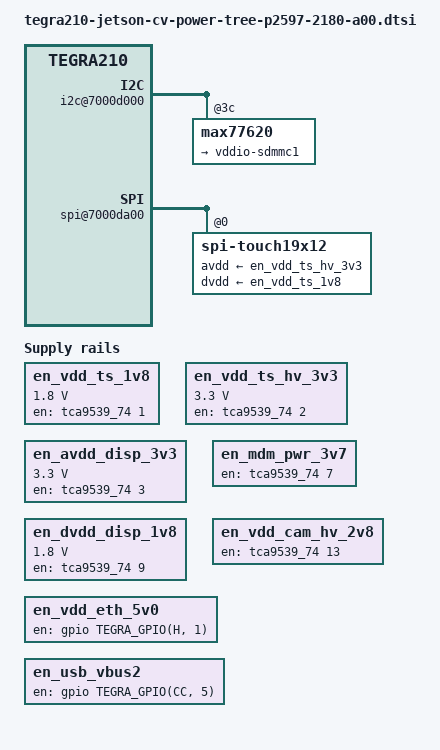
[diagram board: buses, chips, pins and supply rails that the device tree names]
/*
 * Copyright (c) 2015, NVIDIA CORPORATION.  All rights reserved.
 *
 * This program is free software; you can redistribute it and/or modify
 * it under the terms of the GNU General Public License as published by
 * the Free Software Foundation; version 2 of the License.
 *
 * This program is distributed in the hope that it will be useful, but WITHOUT
 * ANY WARRANTY; without even the implied warranty of MERCHANTABILITY or
 * FITNESS FOR A PARTICULAR PURPOSE.  See the GNU General Public License for
 * more details.
 *
 */

#include "tegra210-jetson-e-power-tree-p2530-0930-e03.dtsi"

/ {

	i2c@7000d000 {
		max77620@3c {
			regulators {
				ldo2 {
					regulator-name = "vddio-sdmmc1";
				};
			};
		};
	};

	regulators {
		compatible = "simple-bus";
		device_type = "fixed-regulators";
		#address-cells = <1>;
		#size-cells = <0>;

		max77620_gpio7: regulator@2 {
			regulator-min-microvolt = <1050000>;
			regulator-max-microvolt = <1050000>;
			vin-supply = <&max77620_ldo7>;
		};

		en_vdd_sd: regulator@4 {
			gpio = <&gpio TEGRA_GPIO(Z, 3) 0>;
		};

		en_vdd_cam: regulator@5 {
			gpio = <&tca9539_77 9 1>;
		};

		vdd_hdmi: regulator@7 {
			gpio = <&tca9539_74 12 1>;
			vin-supply = <&vdd_3v3>;
		};

		vdd_fan: regulator@13 {
			gpio = <&tca9539_74 4 0>;
		};

		en_vdd_ts_1v8: regulator@16 {
			compatible = "regulator-fixed-sync";
			regulator-name = "en-vdd-ts-1v8";
			regulator-min-microvolt = <1800000>;
			regulator-max-microvolt = <1800000>;
			gpio = <&tca9539_74 1 1>;
			enable-active-high;
		};

		en_vdd_ts_hv_3v3: regulator@17 {
			compatible = "regulator-fixed-sync";
			regulator-name = "en-vdd-ts-hv-3v3";
			regulator-min-microvolt = <3300000>;
			regulator-max-microvolt = <3300000>;
			gpio = <&tca9539_74 2 1>;
			enable-active-high;
		};

		en_avdd_disp_3v3: regulator@18 {
			compatible = "regulator-fixed-sync";
			regulator-name = "en-vdd-disp-3v3";
			regulator-min-microvolt = <3300000>;
			regulator-max-microvolt = <3300000>;
			gpio = <&tca9539_74 3 1>;
			enable-active-high;
		};


		en_mdm_pwr_3v7: regulator@20 {
			compatible = "regulator-fixed-sync";
			regulator-name = "en-mdm-pwr-3v7";
			regulator-min-microvol = <3700000>;
			regulator-max-microvol = <3700000>;
			gpio = <&tca9539_74 7 1>;
			enable-active-high;
		};

		en_dvdd_disp_1v8: regulator@21 {
			compatible = "regulator-fixed-sync";
			regulator-name = "en-vdd-disp-1v8";
			regulator-min-microvolt = <1800000>;
			regulator-max-microvolt = <1800000>;
			gpio = <&tca9539_74 9 1>;
			enable-active-high;
		};

		en_vdd_cam_hv_2v8: regulator@22 {
			compatible = "regulator-fixed-sync";
			regulator-name = "en-vdd-cam-hv-2v8";
			regulator-min-microvol = <2800000>;
			regulator-max-microvol = <2800000>;
			gpio = <&tca9539_74 13 1>;
			enable-active-high;
		};

		en_vdd_eth_5v0: regulator@23 {
			compatible = "regulator-fixed-sync";
			regulator-name = "rtl-5v0";
			regulator-min-microvol = <5000000>;
			regulator-max-microvol = <5000000>;
			gpio = <&gpio TEGRA_GPIO(H, 1) 0>;
			enable-active-high;
		};

		en_usb_vbus2: regulator@24 {
			compatible = "regulator-fixed-sync";
			regulator-name = "en-usb-vbus2";
			regulator-min-microvol = <5000000>;
			regulator-max-microvol = <5000000>;
			gpio = <&gpio TEGRA_GPIO(CC, 5) 0>;
			enable-active-high;
		};
	};

	host1x {
		dc@54200000 {
			avdd_dsi_csi-supply = <&max77620_ldo0>;
			avdd_lcd-supply = <&en_avdd_disp_3v3>;
			dvdd_lcd-supply = <&en_dvdd_disp_1v8>;
			vdd_lcd_bl_en-supply = <&lcd_bl_en>;
			vdd_lcd_bl-supply = <&vdd_3v3>;
		};

		vi {
			avdd_dsi_csi-supply = <&max77620_ldo0>;
		};
	};

	pwm-fan {
		vdd-fan-supply = <&vdd_fan>;
	};

	otg@7d000000 {
		usb_vbus-supply = <&usb_vbus1>;
	};

	xusb@70090000 {
		usb_vbus1-supply = <&en_vdd_eth_5v0>;
		usb_vbus2-supply = <&en_usb_vbus2>;
	};

	spi@7000da00 {
		spi-touch19x12@0 {
			avdd-supply = <&en_vdd_ts_hv_3v3>;
			dvdd-supply = <&en_vdd_ts_1v8>;
		};
	};

	pmc-iopower {
		iopower-sys-supply = <&max77620_sd3>;
		iopower-uart-supply = <&max77620_sd3>;
		iopower-audio-supply = <&max77620_sd3>;
		iopower-cam-supply = <&max77620_sd3>;
		iopower-pex-ctrl-supply = <&max77620_sd3>;
		iopower-sdmmc1-supply = <&max77620_ldo2>;
		iopower-sdmmc3-supply = <&max77620_sd3>;
		iopower-sdmmc4-supply = <&max77620_sd3>;
		iopower-audio-hv-supply = <&max77620_sd3>;
		iopower-debug-supply = <&max77620_sd3>;
		iopower-dmic-supply = <&max77620_sd3>;
		iopower-gpio-supply = <&max77620_sd3>;
		iopower-spi-supply = <&max77620_sd3>;
		iopower-spi-hv-supply = <&max77620_sd3>;
		iopower-sdmmc2-supply = <&max77620_sd3>;
		iopower-dp-supply = <&max77620_sd3>;
	};

	pmc@7000e400 {
		io-pad-defaults {
			audio-hv {
				nvidia,io-pad-init-voltage = <IO_PAD_VOLTAGE_1_8V>;
			};  

			spi-hv {
				nvidia,io-pad-init-voltage = <IO_PAD_VOLTAGE_1_8V>;
			};

			gpio {
				nvidia,io-pad-init-voltage = <IO_PAD_VOLTAGE_1_8V>;
			};
			sdmmc3 {
				nvidia,io-pad-init-voltage = <IO_PAD_VOLTAGE_1_8V>;
			};
		};
	};
};
